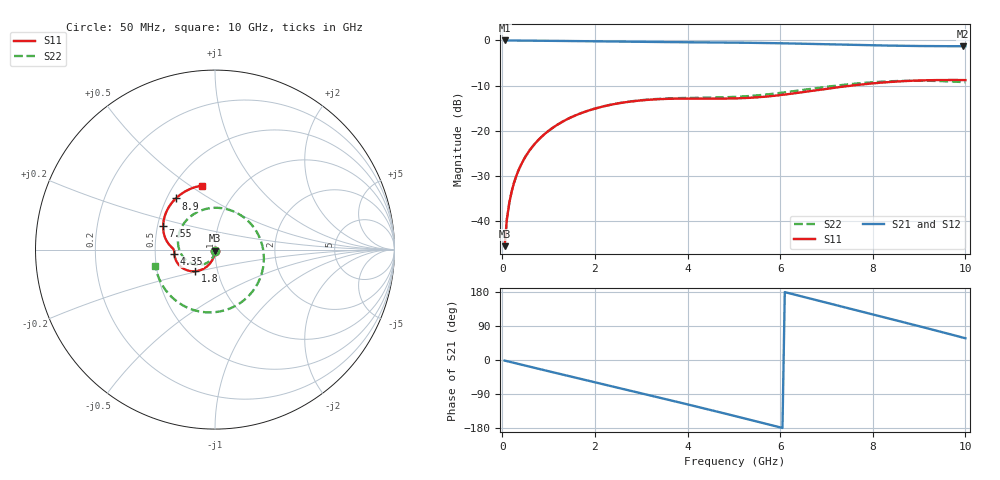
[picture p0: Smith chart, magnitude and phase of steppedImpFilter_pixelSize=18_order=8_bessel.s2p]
! freq	dB(S11)	phase(S11)	dB(S12)	phase(S12)
!  dB(S21)	phase(S21)	dB(S22)	phase(S22)
!S-par simulation data
#  GHz  S  DB  R 50
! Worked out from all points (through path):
!   200 points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, 50 MHz to 10 GHz, reference 50 ohm
!   highest |S21| = 0.00 dB at 50 MHz (marker M1); lowest = -1.3 dB at 9.95 GHz (marker M2)
!   group delay of S21, straight-line fit = 83.8 ps
!   lowest |S11| = -45.5 dB at 50 MHz (marker M3), VSWR 1.01, Z = 50 - j0.529 ohm
!   |S11| at or under -10 dB: start of sweep to 7.537 GHz
!   |S22| runs from -45.5 to -8.9 dB; largest |S21 - S12| = 0
!   S11 on the Smith chart (normalised r, x): 50 MHz: 1.00, -0.01; 1.8 GHz: 0.78, -0.19; 4.35 GHz: 0.63, -0.03; 7.55 GHz: 0.54, +0.15; 8.9 GHz: 0.56, +0.36; 10 GHz: 0.68, +0.56
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0.05  -45.53 -90.9  -0.00 -1.5  -0.00 -1.5  -45.51 -91.5
0.1  -39.51 -92.3  -0.01 -3.0  -0.01 -3.0  -39.51 -93.4
0.2  -33.52 -94.8  -0.01 -6.0  -0.01 -6.0  -33.54 -97.2
0.35  -28.74 -98.6  -0.02 -10.4  -0.02 -10.4  -28.76 -102.9
0.5  -25.72 -102.5  -0.03 -14.9  -0.03 -14.9  -25.73 -108.4
0.7  -22.90 -107.4  -0.05 -20.8  -0.05 -20.8  -22.90 -115.7
1  -20.00 -114.4  -0.08 -29.6  -0.08 -29.6  -20.00 -126.5
1.75  -15.90 -131.4  -0.17 -51.6  -0.17 -51.6  -15.90 -153.8
1.8  -15.72 -132.5  -0.18 -53.0  -0.18 -53.0  -15.72 -155.6
2.6  -13.77 -148.8  -0.28 -76.2  -0.28 -76.2  -13.73 173.9
3.4  -12.99 -162.5  -0.35 -99.5  -0.35 -99.5  -12.91 140.9
3.85  -12.87 -168.8  -0.38 -112.7  -0.38 -112.7  -12.75 120.5
4.35  -12.87 -174.2  -0.42 -127.5  -0.42 -127.5  -12.67 96.1
5.05  -12.82 -179.1  -0.48 -148.6  -0.48 -148.6  -12.48 59.1
5.9  -12.22 176.3  -0.60 -174.7  -0.60 -174.7  -11.74 12.8
6.7  -11.14 168.9  -0.77 160.6  -0.77 160.6  -10.67 -27.6
7.55  -9.98 155.9  -0.97 134.3  -0.97 134.3  -9.63 -65.7
8.35  -9.21 139.8  -1.14 109.5  -1.14 109.5  -9.05 -98.1
8.9  -8.90 127.4  -1.22 92.4  -1.22 92.4  -8.91 -119.6
9.45  -8.76 114.5  -1.27 75.0  -1.27 75.0  -8.98 -141.3
9.95  -8.77 102.6  -1.28 59.0  -1.28 59.0  -9.21 -162.0
10  -8.77 101.4  -1.28 57.3  -1.28 57.3  -9.24 -164.2
